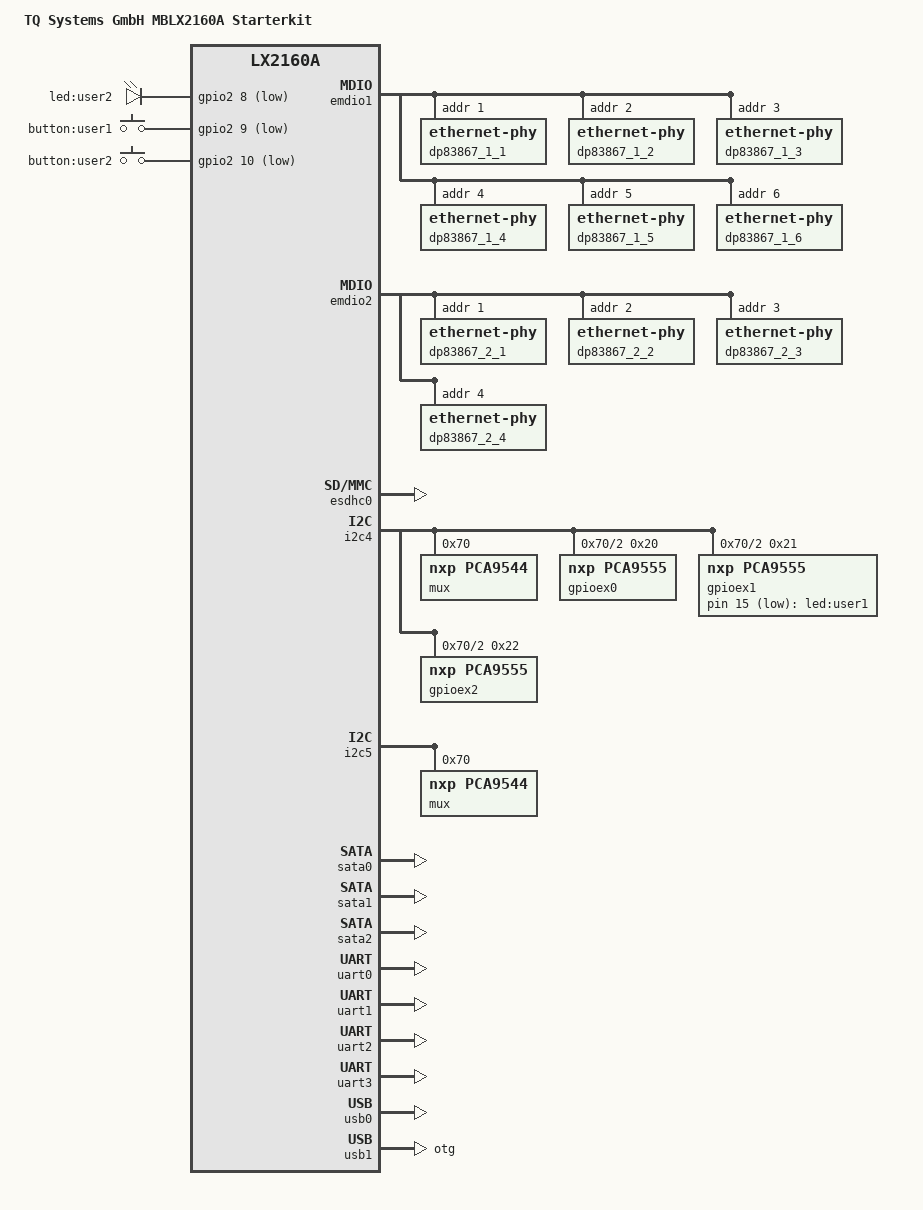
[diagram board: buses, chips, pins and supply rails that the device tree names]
/dts-v1/;

#include "fsl-lx2160a-tqmlx2160a.dtsi"
#include <dt-bindings/net/ti-dp83867.h>
#include <dt-bindings/input/input.h>

/ {
	model = "TQ Systems GmbH MBLX2160A Starterkit";
	compatible = "tq,mblx2160a", "tq,tqmlx2160a", "fsl,lx2160a";

	aliases {
		serial0 = &uart0;
		serial1 = &uart1;
		serial2 = &uart2;
		serial3 = &uart3;
	};

	chosen {
		stdout-path = "serial0:115200n8";
	};

	leds {
		compatible = "gpio-leds";

		user1 {
			gpios = <&gpioex1 15 GPIO_ACTIVE_LOW>;
			label = "led:user1";
			linux,default-trigger = "heartbeat";
		};

		user2 {
			gpios = <&gpio2 8 GPIO_ACTIVE_LOW>;
			label = "led:user2";
			linux,default-trigger = "heartbeat";
		};
	};

	gpio-keys-polled {
		compatible = "gpio-keys-polled";
		gpio-keys,name = "gpio-keys";
		poll-interval = <100>;
		autorepeat;

		button0: button0 {
			label = "button:user1";
			gpios = <&gpio2 9 GPIO_ACTIVE_LOW>;
			linux,code = <KEY_F1>;
		};

		button1: button1 {
			label = "button:user2";
			gpios = <&gpio2 10 GPIO_ACTIVE_LOW>;
			linux,code = <KEY_F2>;
		};
	};
};

&dpmac13 {
	phy-connection-type = "usxgmii";
};

&dpmac14 {
	phy-connection-type = "usxgmii";
};

&dpmac17 {
	phy-handle = <&dp83867_1_2>;
	phy-connection-type = "sgmii";
};

&dpmac18 {
	phy-handle = <&dp83867_1_3>;
	phy-connection-type = "sgmii";
};

&emdio1 {
	status = "okay";

	dp83867_1_1: ethernet-phy@1 {
		reg = <1>;
	};

	dp83867_1_2: ethernet-phy@2 {
		reg = <2>;
	};

	dp83867_1_3: ethernet-phy@3 {
		reg = <3>;
	};

	dp83867_1_4: ethernet-phy@4 {
		reg = <4>;
	};

	dp83867_1_5: ethernet-phy@5 {
		reg = <5>;
	};

	dp83867_1_6: ethernet-phy@6 {
		reg = <6>;
	};
};

&emdio2 {
	status = "okay";

	dp83867_2_1: ethernet-phy@1 {
		reg = <1>;
	};

	dp83867_2_2: ethernet-phy@2 {
		reg = <2>;
	};

	dp83867_2_3: ethernet-phy@3 {
		reg = <3>;
		ti,rx-internal-delay = <DP83867_RGMIIDCTL_2_25_NS>;
		ti,tx-internal-delay = <DP83867_RGMIIDCTL_2_25_NS>;
	};

	dp83867_2_4: ethernet-phy@4 {
		reg = <4>;
		ti,rx-internal-delay = <DP83867_RGMIIDCTL_2_25_NS>;
		ti,tx-internal-delay = <DP83867_RGMIIDCTL_2_25_NS>;
	};
};

&esdhc0 {
	sd-uhs-sdr104;
	sd-uhs-sdr50;
	sd-uhs-sdr25;
	sd-uhs-sdr12;
	status = "okay";
};

&i2c4 {
	status = "okay";

	mux@70 {
		compatible = "nxp,pca9544";
		reg = <0x70>;
		#address-cells = <1>;
		#size-cells = <0>;

		i2c@0 {
			#address-cells = <1>;
			#size-cells = <0>;
			reg = <0>;
		};

		i2c@1 {
			#address-cells = <1>;
			#size-cells = <0>;
			reg = <1>;
		};

		i2c@2 {
			#address-cells = <1>;
			#size-cells = <0>;
			reg = <2>;

			gpioex0: gpio@20 {
				compatible = "nxp,pca9555";
				reg = <0x20>;
				#gpio-cells = <2>;
				gpio-controller;
			};

			gpioex1: gpio@21 {
				compatible = "nxp,pca9555";
				reg = <0x21>;
				#gpio-cells = <2>;
				gpio-controller;
			};

			gpioex2: gpio@22 {
				compatible = "nxp,pca9555";
				reg = <0x22>;
				#gpio-cells = <2>;
				gpio-controller;
			};
		};

		i2c@3 {
			#address-cells = <1>;
			#size-cells = <0>;
			reg = <3>;
		};
	};
};

&i2c5 {
	status = "okay";

	mux@70 {
		compatible = "nxp,pca9544";
		reg = <0x70>;
		#address-cells = <1>;
		#size-cells = <0>;

		i2c@0 {
			#address-cells = <1>;
			#size-cells = <0>;
			reg = <0>;
		};

		i2c@1 {
			#address-cells = <1>;
			#size-cells = <0>;
			reg = <1>;
		};

		i2c@2 {
			#address-cells = <1>;
			#size-cells = <0>;
			reg = <2>;
		};

		i2c@3 {
			#address-cells = <1>;
			#size-cells = <0>;
			reg = <3>;
		};
	};
};

&sata0{
	status = "okay";
};

&sata1{
	status = "okay";
};

&sata2{
	status = "okay";
};

&uart0 {
	status = "okay";
};

&uart1 {
	status = "okay";
};

&uart2 {
	status = "okay";
};

&uart3 {
	status = "okay";
};

&usb0 {
	status = "okay";
};

&usb1 {
	dr_mode = "otg";
	status = "okay";
};
